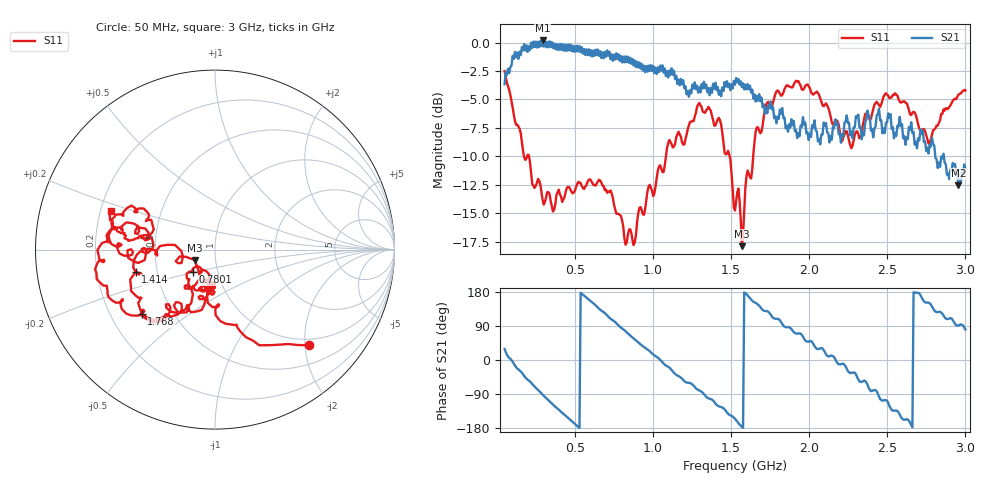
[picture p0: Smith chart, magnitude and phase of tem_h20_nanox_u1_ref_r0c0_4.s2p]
! nanovna_capture.py 2026-10-26T21:20:18+0900
! NanoVNA-F_V2 fw 0.6.0 SN 4A3639384505514B
! cal: load open short thru cal'ed  over 50000000-3000000000 Hz, 201 points
! points 401, avg 4
! TEM h=20, genuine Nano X, flat back down, 0 deg, centred, placement 4 (re-check after the tampered unit, ~21:20)
# HZ S RI R 50
! S12 and S22 are not measured (written as 0)
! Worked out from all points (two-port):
!   401 points, 50 MHz to 3 GHz, reference 50 ohm
!   highest |S21| = 0.18 dB at 293.4 MHz (marker M1); lowest = -12.6 dB at 2.956 GHz (marker M2)
!   |S21| within 3 dB of the highest: 55.77 MHz to 63.56 MHz (7.796 MHz wide, 13.1 % of centre); 65.35 MHz to 1.081 GHz (1.016 GHz wide, 177 % of centre) (the widest 2 of 6)
!   lowest |S11| = -17.9 dB at 1.569 GHz (marker M3), VSWR 1.29, Z = 39.6 - j4.7 ohm
!   |S11| at or under -10 dB: 174.2 MHz to 194.3 MHz (20.13 MHz wide, 10.9 % of centre); 206.2 MHz to 1.083 GHz (876.4 MHz wide, 136 % of centre); 1.491 GHz to 1.642 GHz (150.9 MHz wide, 9.63 % of centre)
!   S12 and S22 are empty: the file has one direction only
!   S11 on the Smith chart (normalised r, x): 50 MHz: 0.86, -2.10; 780.1 MHz: 0.76, -0.20; 1.414 GHz: 0.38, -0.12; 1.768 GHz: 0.33, -0.34; 3 GHz: 0.25, +0.17
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5e7  0.526 -0.5329  0.574 0.3173  0 0  0 0
1.60625e8  0.00331 -0.3649  0.7959 -0.5246  0 0  0 0
2.93375e8  -0.0362 -0.2002  -0.0261 -1.021  0 0  0 0
4.26125e8  -0.0266 -0.2023  -0.7736 -0.6026  0 0  0 0
5.44125e8  -0.0884 -0.2165  -0.9491 0.0875  0 0  0 0
6.62125e8  -0.1438 -0.2009  -0.6211 0.6727  0 0  0 0
7.80125e8  -0.1237 -0.1255  -0.00898 0.8868  0 0  0 0
9.12875e8  -0.0537 -0.1798  0.5905 0.5655  0 0  0 0
1.03825e9  -0.071 -0.2762  0.7394 0.0481  0 0  0 0
1.193125e9  -0.2005 -0.2948  0.4145 -0.5428  0 0  0 0
1.281625e9  -0.3423 -0.3916  0.1451 -0.6303  0 0  0 0
1.414375e9  -0.4424 -0.1238  -0.3248 -0.5494  0 0  0 0
1.525e9  -0.1784 -0.0386  -0.593 -0.2745  0 0  0 0
1.56925e9  -0.1131 -0.0584  -0.6351 -0.038  0 0  0 0
1.768375e9  -0.4086 -0.3593  -0.191 0.4844  0 0  0 0
2.019125e9  -0.5938 0.0455  0.2933 0.319  0 0  0 0
2.240375e9  -0.3993 0.0801  0.4412 -0.1846  0 0  0 0
2.3805e9  -0.467 0.00161  0.1365 -0.4548  0 0  0 0
2.51325e9  -0.5581 0.1131  -0.2428 -0.3976  0 0  0 0
2.712375e9  -0.37 0.1791  -0.4105 0.0643  0 0  0 0
2.95575e9  -0.5746 0.1369  -0.00333 0.2357  0 0  0 0
3e9  -0.5773 0.2133  0.0457 0.2759  0 0  0 0
